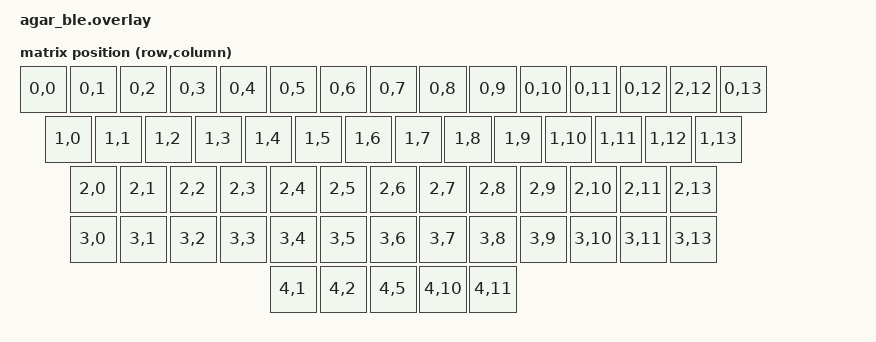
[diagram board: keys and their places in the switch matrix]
#include <dt-bindings/zmk/matrix_transform.h>
#include <physical_layouts.dtsi>
#include "common.overlay"

#define _RC(x, y)
#define N(x) (59-x)

/ {

    matrix_transform_1: matrix_transform_1 {
        compatible = "zmk,matrix-transform";
        rows = <5>; columns = <14>;
        map = <
RC(0,0) RC(0,1) RC(0,2) RC(0,3) RC(0,4) RC(0,5) RC(0,6) RC(0,7) RC(0,8) RC(0,9) RC(0,10) RC(0,11) RC(0,12) _RC(2,12) RC(0,13)
RC(1,0)   RC(1,1) RC(1,2) RC(1,3) RC(1,4) RC(1,5) RC(1,6) RC(1,7) RC(1,8) RC(1,9) RC(1,10) RC(1,11) RC(1,12)   RC(1,13)
RC(2,0)     RC(2,1) RC(2,2) RC(2,3) RC(2,4) RC(2,5) RC(2,6) RC(2,7) RC(2,8) RC(2,9) RC(2,10) RC(2,11)        RC(2,13)
RC(3,0)        RC(3,1) RC(3,2) RC(3,3) RC(3,4) RC(3,5) RC(3,6) RC(3,7) RC(3,8) RC(3,9)    RC(3,10)      RC(3,11) RC(3,13)
         RC(4,1)   RC(4,2)                      RC(4,5)                           RC(4,10)   RC(4,11)
        >;
    };

    layout1: layout1 {
        compatible = "zmk,physical-layout";
        display-name = "2U BS";
        transform = <&matrix_transform_1>;

        keys =    ROW0_FIXED , ROW0_BS_2U
                , FIXED_ROWS;
    };

    layouts_this_position_map {
        compatible = "zmk,physical-layout-position-map";
        complete;
        //3u*2
        position_map_all: position_map_all {
            physical-layout = <&layout_all>;
            positions
                = < 0  1  2  3  4  5  6  7  8  9 10 11 12 13 14>
                , <15  16 17 18 19 20 21 22 23 24 25 26 27  28 >
                , <29   30 31 32 33 34 35 36 37 38 39 40   41  >
                , <42     43 44 45 46 47 48 49 50 51 52  53  54>
                , <    55  56          57            58  59    >;
        };
        //6u
        position_map1: position_map1 {
            physical-layout = <&layout1>;
            positions
                = < 0  1  2  3  4  5  6  7  8  9 10 11 12 N(0) 13>
                , <14  15 16 17 18 19 20 21 22 23 24 25 26 27  >
                , <28   29 30 31 32 33 34 35 36 37 38 39  40   >
                , <41    42 43 44 45 46 47 48 49 50 51   52  53>
                , <    54  55        56             57  58     >;
        };
    };
};
